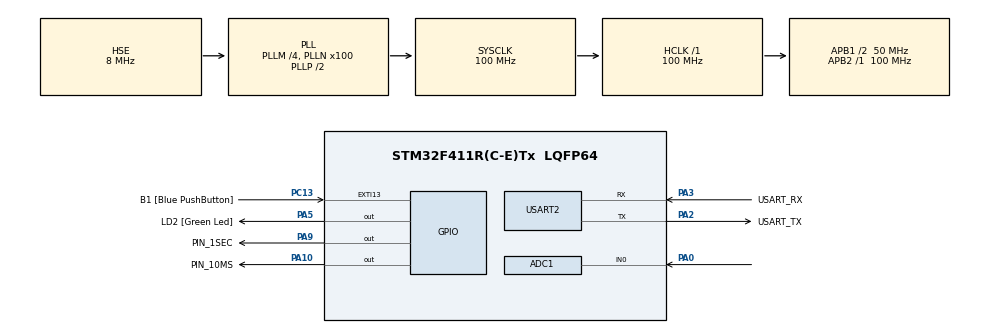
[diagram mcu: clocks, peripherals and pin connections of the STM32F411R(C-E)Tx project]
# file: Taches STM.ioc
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ADC1.Channel-0\#ChannelRegularConversion=ADC_CHANNEL_0
ADC1.NbrOfConversionFlag=1
ADC1.Rank-0\#ChannelRegularConversion=1
ADC1.SamplingTime-0\#ChannelRegularConversion=ADC_SAMPLETIME_480CYCLES
ADC1.master=1
Mcu.Family=STM32F4
Mcu.Name=STM32F411R(C-E)Tx
Mcu.Package=LQFP64
NVIC.PriorityGroup=NVIC_PRIORITYGROUP_0
NVIC.TIM1_UP_TIM10_IRQn=true\:0\:0\:false\:false\:true\:true\:true\:true
NVIC.TIM2_IRQn=true\:0\:0\:false\:false\:true\:true\:true\:true
PA0-WKUP.Signal=ADCx_IN0
PA10.GPIO_Label=PIN_10MS
PA10.GPIO_Speed=GPIO_SPEED_FREQ_MEDIUM
PA10.Signal=GPIO_Output
PA13.GPIO_Label=TMS
PA13.Mode=Serial_Wire
PA13.Signal=SYS_JTMS-SWDIO
PA14.GPIO_Label=TCK
PA14.Mode=Serial_Wire
PA14.Signal=SYS_JTCK-SWCLK
PA2.GPIO_Label=USART_TX
PA2.Mode=Asynchronous
PA2.Signal=USART2_TX
PA3.GPIO_Label=USART_RX
PA3.Mode=Asynchronous
PA3.Signal=USART2_RX
PA5.GPIO_Label=LD2 [Green Led]
PA5.Signal=GPIO_Output
PA9.GPIO_Label=PIN_1SEC
PA9.GPIO_ModeDefaultOutputPP=GPIO_MODE_OUTPUT_PP
PA9.GPIO_PuPd=GPIO_NOPULL
PA9.GPIO_Speed=GPIO_SPEED_FREQ_LOW
PA9.Signal=GPIO_Output
PB3.GPIO_Label=SWO
PB3.Signal=SYS_JTDO-SWO
PC13-ANTI_TAMP.GPIO_Label=B1 [Blue PushButton]
PC13-ANTI_TAMP.GPIO_ModeDefaultEXTI=GPIO_MODE_IT_FALLING
PC13-ANTI_TAMP.Signal=GPXTI13
PC14-OSC32_IN.Signal=RCC_OSC32_IN
PC15-OSC32_OUT.Signal=RCC_OSC32_OUT
PH0\ -\ OSC_IN.Mode=HSE-External-Oscillator
PH0\ -\ OSC_IN.Signal=RCC_OSC_IN
PH1\ -\ OSC_OUT.Mode=HSE-External-Oscillator
PH1\ -\ OSC_OUT.Signal=RCC_OSC_OUT
ProjectManager.HeapSize=0x200
ProjectManager.StackSize=0x400
ProjectManager.TargetToolchain=STM32CubeIDE
RCC.48MHZClocksFreq_Value=50000000
RCC.AHBFreq_Value=100000000
RCC.APB1CLKDivider=RCC_HCLK_DIV2
RCC.APB1Freq_Value=50000000
RCC.APB1TimFreq_Value=100000000
RCC.APB2Freq_Value=100000000
RCC.APB2TimFreq_Value=100000000
RCC.CortexFreq_Value=100000000
RCC.FLatency-AdvancedSettings=FLASH_LATENCY_3
RCC.HCLKFreq_Value=100000000
RCC.HSE_VALUE=8000000
RCC.HSI_VALUE=16000000
RCC.LSE_VALUE=32768
RCC.PLLM=4
RCC.PLLN=100
RCC.PLLSourceVirtual=RCC_PLLSOURCE_HSE
RCC.SYSCLKFreq_VALUE=100000000
RCC.SYSCLKSource=RCC_SYSCLKSOURCE_PLLCLK
RCC.VCOOutputFreq_Value=200000000
SH.ADCx_IN0.0=ADC1_IN0,IN0
TIM1.Period=49999
TIM1.Prescaler=1999
TIM2.Period=999
TIM2.Prescaler=999
USART2.VirtualMode=VM_ASYNC
VP_TIM1_VS_ClockSourceINT.Mode=Internal
VP_TIM2_VS_ClockSourceINT.Mode=Internal
board=NUCLEO-F411RE

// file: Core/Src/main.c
/* USER CODE BEGIN Header */
/**
  ******************************************************************************
  * @file           : main.c
  * @brief          : Main program body
  ******************************************************************************
  * @attention
  *
  * Copyright (c) 2026 STMicroelectronics.
  * All rights reserved.
  *
  * This software is licensed under terms that can be found in the LICENSE file
  * in the root directory of this software component.
  * If no LICENSE file comes with this software, it is provided AS-IS.
  *
  ******************************************************************************
  */
/* USER CODE END Header */
#include "main.h"
#include "adc.h"
#include "tim.h"
#include "usart.h"
#include "gpio.h"

/* USER CODE BEGIN Includes */

#include <stdio.h>
#include <string.h>

/* USER CODE END Includes */

void SystemClock_Config(void);

int main(void)
{

  /* MCU Configuration--------------------------------------------------------*/

  /* Reset of all peripherals, Initializes the Flash interface and the Systick. */
  HAL_Init();

  /* Configure the system clock */
  SystemClock_Config();

  /* Initialize all configured peripherals */
  MX_GPIO_Init();
  MX_ADC1_Init();
  MX_TIM1_Init();
  MX_TIM2_Init();
  MX_USART2_UART_Init();
  /* USER CODE BEGIN 2 */

  char cadena[128] = {0};
  uint32_t acquisition_brute = 0;
  float tension = 0.0f;
  HAL_TIM_Base_Start_IT(&htim1);
  HAL_TIM_Base_Start_IT(&htim2);
  /* USER CODE END 2 */

  /* Infinite loop */
  /* USER CODE BEGIN WHILE */
  while (1)
  {
	  HAL_ADC_Start(&hadc1);
	  acquisition_brute = HAL_ADC_GetValue(&hadc1);
	  tension = ((float)acquisition_brute * 3.3f) / 4095.0f;
	//valeurs du datasheet stm32f411
	//https://www.st.com/en/microcontrollers-microprocessors/stm32f411/documentation.html

	  sprintf(cadena, "ADC = %lu | Tension = %.3f V\n",
			 acquisition_brute,
			 tension);

	  HAL_UART_Transmit(&huart2, (uint8_t *)cadena, strlen(cadena), HAL_MAX_DELAY);

	  HAL_Delay(100);
    /* USER CODE END WHILE */

  }
}

void SystemClock_Config(void)
{
  RCC_OscInitTypeDef RCC_OscInitStruct = {0};
  RCC_ClkInitTypeDef RCC_ClkInitStruct = {0};

  /** Configure the main internal regulator output voltage
  */
  __HAL_RCC_PWR_CLK_ENABLE();
  __HAL_PWR_VOLTAGESCALING_CONFIG(PWR_REGULATOR_VOLTAGE_SCALE1);

  /** Initializes the RCC Oscillators according to the specified parameters
  * in the RCC_OscInitTypeDef structure.
  */
  RCC_OscInitStruct.OscillatorType = RCC_OSCILLATORTYPE_HSE;
  RCC_OscInitStruct.HSEState = RCC_HSE_ON;
  RCC_OscInitStruct.PLL.PLLState = RCC_PLL_ON;
  RCC_OscInitStruct.PLL.PLLSource = RCC_PLLSOURCE_HSE;
  RCC_OscInitStruct.PLL.PLLM = 4;
  RCC_OscInitStruct.PLL.PLLN = 100;
  RCC_OscInitStruct.PLL.PLLP = RCC_PLLP_DIV2;
  RCC_OscInitStruct.PLL.PLLQ = 4;
  if (HAL_RCC_OscConfig(&RCC_OscInitStruct) != HAL_OK)
  {
    Error_Handler();
  }

  /** Initializes the CPU, AHB and APB buses clocks
  */
  RCC_ClkInitStruct.ClockType = RCC_CLOCKTYPE_HCLK|RCC_CLOCKTYPE_SYSCLK
                              |RCC_CLOCKTYPE_PCLK1|RCC_CLOCKTYPE_PCLK2;
  RCC_ClkInitStruct.SYSCLKSource = RCC_SYSCLKSOURCE_PLLCLK;
  RCC_ClkInitStruct.AHBCLKDivider = RCC_SYSCLK_DIV1;
  RCC_ClkInitStruct.APB1CLKDivider = RCC_HCLK_DIV2;
  RCC_ClkInitStruct.APB2CLKDivider = RCC_HCLK_DIV1;

  if (HAL_RCC_ClockConfig(&RCC_ClkInitStruct, FLASH_LATENCY_3) != HAL_OK)
  {
    Error_Handler();
  }
}

void Error_Handler(void)
{
  __disable_irq();
  while (1)
  {
  }
}
